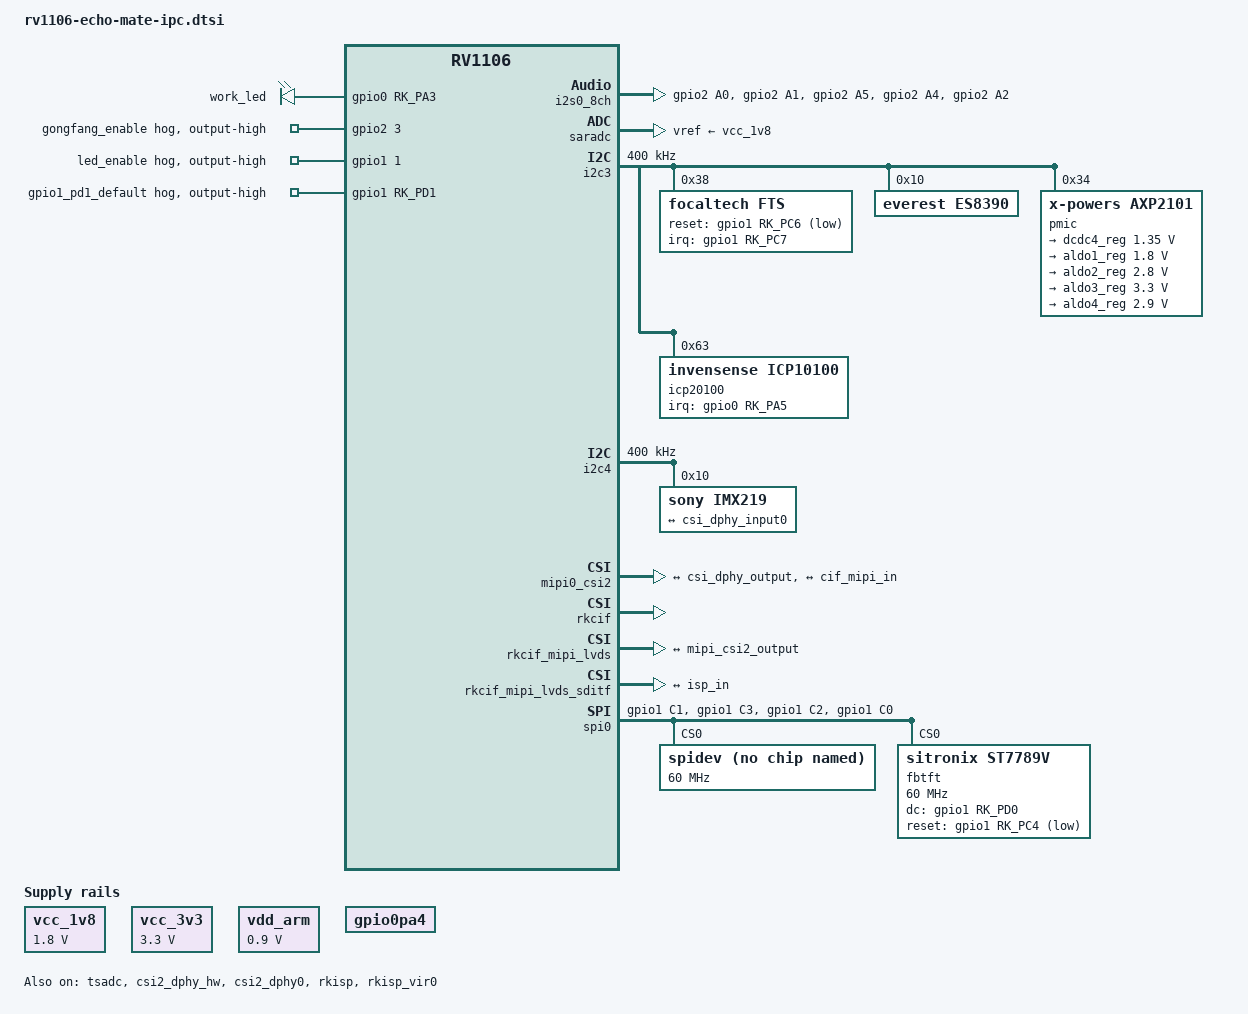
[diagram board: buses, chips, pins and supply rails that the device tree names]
// SPDX-License-Identifier: (GPL-2.0+ OR MIT)
/*
 * Copyright (c) 2022 Rockchip Electronics Co., Ltd.
 */
#include "rv1106-amp.dtsi"

/ {
	chosen {
		bootargs = "earlycon=uart8250,mmio32,0xff4c0000 console=ttyFIQ0 root=/dev/mmcblk1p7 rootwait snd_soc_core.prealloc_buffer_size_kbytes=16 coherent_pool=0 snd_soc_core.disable_offload=0";
	};

	es8390_sound: es8390-sound {
		status = "okay";
		compatible = "simple-audio-card";
		simple-audio-card,name = "rv1106-es8390";
		simple-audio-card,format = "i2s";
		simple-audio-card,mclk-fs = <256>;
		simple-audio-card,bitclock-master = <&i2s0_8ch>;
		simple-audio-card,frame-master = <&i2s0_8ch>;
		//spk-con-gpio = <&gpio2 RK_PA3 GPIO_ACTIVE_HIGH>;
		rockchip,audio-routing =
			"Headphone", "LOUT1",
			"Headphone", "ROUT1",
			"Speaker", "LOUT2",
			"Speaker", "ROUT2",
			"Headphone", "Headphone Power",
			"Headphone", "Headphone Power",
			"Speaker", "Speaker Power",
			"Speaker", "Speaker Power",
			"LINPUT1", "Main Mic",
			"LINPUT2", "Main Mic",
			"RINPUT1", "Headset Mic",
			"RINPUT2", "Headset Mic";
		dai_cpu: simple-audio-card,cpu {sound-dai = <&i2s0_8ch>;};
		simple-audio-card,codec {sound-dai = <&es8390>;};
	};

	vcc_1v8: vcc-1v8 {
		compatible = "regulator-fixed";
		regulator-name = "vcc_1v8";
		regulator-always-on;
		regulator-boot-on;
		regulator-min-microvolt = <1800000>;
		regulator-max-microvolt = <1800000>;
	};

	vcc_3v3: vcc-3v3 {
		compatible = "regulator-fixed";
		regulator-name = "vcc_3v3";
		regulator-always-on;
		regulator-boot-on;
		regulator-min-microvolt = <3300000>;
		regulator-max-microvolt = <3300000>;
	};

	vdd_arm: vdd-arm {
		compatible = "regulator-fixed";
		regulator-name = "vdd_arm";
		regulator-min-microvolt = <900000>;
		regulator-max-microvolt = <900000>;
		regulator-always-on;

		regulator-boot-on;
	};
	leds: leds {
		compatible = "gpio-leds";
		work_led: work{
			gpios = <&gpio0 RK_PA3 GPIO_ACTIVE_HIGH>;
			linux,default-trigger = "activity";
			default-state = "on";
		};	
	};

	gpio0pa4:gpio0pa4 {
        compatible = "regulator-fixed";
        pinctrl-names = "default";
        pinctrl-0 = <&gpio0_pa4>;
        regulator-name = "gpio0_pa4";
        regulator-always-on;
    };

};



/***************************** AUDIO ********************************/
&i2s0_8ch {
	status = "okay";
	rockchip,clk-trcm = <1>;
	rockchip,io-func = <1>;
	pinctrl-names = "default";
	pinctrl-0 = <&i2s0_sclk &i2s0_lrck &i2s0_sdi0 &i2s0_sdo0 &i2s0_mclk>;
	assigned-clocks = <&cru MCLK_I2S0_8CH_TX>;
	assigned-clock-rates = <12288000>;
	#sound-dai-cells = <0>;
};

/***************************** CPU ********************************/
&cpu0 {
	cpu-supply = <&vdd_arm>;
};

/***************************** ADC ********************************/
&saradc {
	status = "okay";
	vref-supply = <&vcc_1v8>;
};

&tsadc {
	status = "okay";
};

/***************************** CSI ********************************/
&csi2_dphy_hw {
	status = "okay";
};

&csi2_dphy0 {
	status = "okay";

	ports {
		#address-cells = <1>;
		#size-cells = <0>;

		port@0 {
			reg = <0>;
			#address-cells = <1>;
			#size-cells = <0>;

			csi_dphy_input0: endpoint@0 {
				reg = <0>;
				remote-endpoint = <&imx219_out>;
				data-lanes = <1 2>;
			};
		};

		port@1 {
			reg = <1>;
			#address-cells = <1>;
			#size-cells = <0>;

			csi_dphy_output: endpoint@0 {
				reg = <0>;
				remote-endpoint = <&mipi_csi2_input>;
			};
		};
	};
};

/**********I2C**********/
/* I2C3_M1 */
&i2c3 {
	status = "okay";
	clock-frequency = <400000>;  // 400kHz I2C频率
	pinctrl-names = "default";
	pinctrl-0 = <&i2c3m1_xfer>;

    focaltech@38 { 
		compatible = "focaltech,fts";	
		reg = <0x38>;  					
		interrupt-parent = <&gpio1>;				
		interrupts = <RK_PC7 IRQ_TYPE_EDGE_FALLING>;
		focaltech,reset-gpio = <&gpio1 RK_PC6 GPIO_ACTIVE_LOW>;
		focaltech,irq-gpio = <&gpio1 RK_PC7 IRQ_TYPE_LEVEL_LOW>; 

		focaltech,max-touch-number = <5>;			
		focaltech,display-coords =  <0 0 240 320>;
		focaltech,rotate = <270>;
	};

	es8390: es8390@10{
		status = "okay";
		compatible = "everest,es8390","everest,es8389";
		reg = <0x10>;
		clocks = <&cru MCLK_I2S0_8CH_TX>;
		clock-names = "mclk";
		assigned-clocks = <&cru MCLK_I2S0_8CH_TX>;
		assigned-clock-rates = <12288000>;
		#sound-dai-cells = <0>;
	};

	pmic: pmic@34 { 
		compatible = "x-powers,axp2101"; 
		reg = <0x34>; /* 暂不声明中断，用户态轮询 reg48h–4Ah */ 

		regulators {
            /* DCDC4 = 1.35V */
            dcdc4_reg: dcdc4 {
                regulator-name = "dcdc4_1v35";
                regulator-min-microvolt = <1350000>;
                regulator-max-microvolt = <1350000>;
                regulator-boot-on;
                regulator-always-on;
            };

            /* ALDO1 = 1.8V */
            aldo1_reg: aldo1 {
                regulator-name = "aldo1_1v8";
                regulator-min-microvolt = <1800000>;
                regulator-max-microvolt = <1800000>;
                regulator-boot-on;
                regulator-always-on;
            };

            /* ALDO2 = 2.8V */
            aldo2_reg: aldo2 {
                regulator-name = "aldo2_2v8";
                regulator-min-microvolt = <2800000>;
                regulator-max-microvolt = <2800000>;
                regulator-boot-on;
                regulator-always-on;
            };

            /* ALDO3 = 3.3V */
            aldo3_reg: aldo3 {
                regulator-name = "aldo3_3v3";
                regulator-min-microvolt = <3300000>;
                regulator-max-microvolt = <3300000>;
                regulator-boot-on;
                regulator-always-on;
            };

            /* ALDO4 = 2.9V */
            aldo4_reg: aldo4 {
                regulator-name = "aldo4_2v9";
                regulator-min-microvolt = <2900000>;
                regulator-max-microvolt = <2900000>;
                regulator-boot-on;
                regulator-always-on;
            };
        };
	};

	icp20100: icp20100@63{
		compatible = "invensense,icp10100";
		reg = <0x63>;
		interrupt-parent = <&gpio0>;
		interrupts = <RK_PA5 IRQ_TYPE_LEVEL_LOW>;
	};
};

&i2c4 {
	status = "okay";
	clock-frequency = <400000>;
	pinctrl-names = "default";
	pinctrl-0 = <&i2c4m2_xfer>;

	 imx219: imx219@10 {
		status = "okay";
        compatible = "sony,imx219";
        reg = <0x10>;
        clocks = <&cru MCLK_REF_MIPI0>;
        clock-names = "xvclk";
        pinctrl-names = "default";
        pinctrl-0 = <&mipi_refclk_out0>;
        rockchip,camera-module-index = <0>;
        rockchip,camera-module-facing = "back";
        rockchip,camera-module-name = "IMX219";
        rockchip,camera-module-lens-name = "default";

        port {
            imx219_out: endpoint {
                data-lanes = <1 2>;
                remote-endpoint = <&csi_dphy_input0>;
            };
        };
    };
	
	
};

&mipi0_csi2 {
	status = "okay";

	ports {
		#address-cells = <1>;
		#size-cells = <0>;

		port@0 {
			reg = <0>;
			#address-cells = <1>;
			#size-cells = <0>;

			mipi_csi2_input: endpoint@1 {
				reg = <1>;
				remote-endpoint = <&csi_dphy_output>;
			};
		};

		port@1 {
			reg = <1>;
			#address-cells = <1>;
			#size-cells = <0>;

			mipi_csi2_output: endpoint@0 {
				reg = <0>;
				remote-endpoint = <&cif_mipi_in>;
			};
		};
	};
};

&rkcif {
	status = "okay";
};

&rkcif_mipi_lvds {
	status = "okay";

	pinctrl-names = "default";
	pinctrl-0 = <&mipi_pins>;
	port {
		/* MIPI CSI-2 endpoint */
		cif_mipi_in: endpoint {
			remote-endpoint = <&mipi_csi2_output>;
		};
	};
};

&rkcif_mipi_lvds_sditf {
	status = "okay";

	port {
		/* MIPI CSI-2 endpoint */
		mipi_lvds_sditf: endpoint {
			remote-endpoint = <&isp_in>;
		};
	};
};

&rkisp {
	status = "okay";
};

&rkisp_vir0 {
	status = "okay";

	port@0 {
		isp_in: endpoint {
			remote-endpoint = <&mipi_lvds_sditf>;
		};
	};
};


/*****************************PINCTRL********************************/
// SPI
&spi0 {
	pinctrl-0 = <&spi0m0_clk &spi0m0_miso &spi0m0_mosi &spi0m0_cs0>;
	#address-cells = <1>;
	#size-cells = <0>;
	spidev@0 {
    	compatible = "rockchip,spidev";
		spi-max-frequency = <60000000>;
		reg = <0>;
	};

	fbtft@0{
		compatible = "sitronix,st7789v";
		reg = <0>;
		spi-max-frequency = <60000000>;
		fps = <60>;
		buswidth = <8>;
		debug = <0x7>;
		rotate = <270>;
		//bgr = <1>;	//RGB->BGR
		//led-gpios = <&gpio1 RK_PC5 GPIO_ACTIVE_HIGH>;		//BL
		dc-gpios = <&gpio1 RK_PD0 GPIO_ACTIVE_HIGH>;		//DC
		reset-gpios = <&gpio1 RK_PC4 GPIO_ACTIVE_LOW>;		//RES
	};
};
// I2C
&i2c0 {
	pinctrl-0 = <&i2c0m2_xfer>;
};

&i2c1 {
	pinctrl-0 = <&i2c1m1_xfer>;
};

//&i2c3 {
//	pinctrl-0 = <&i2c3m1_xfer &i2c3m0_xfer>;
//};

// &i2c4 {
//  pinctrl-0 = <&i2c4m0_xfer>;
// };

// UART
&uart1 {
	pinctrl-0 = <&uart1m1_xfer>;
};
&uart3 {
	pinctrl-0 = <&uart3m1_xfer>;
};
&uart4 {
	pinctrl-0 = <&uart4m1_xfer>;
};
&uart5 {
	pinctrl-0 = <&uart5m0_xfer>;
};

// PWM
&pwm0 {
	pinctrl-0 = <&pwm0m1_pins>;
};
&pwm2 {
	pinctrl-0 = <&pwm2m2_pins>;
};
&pwm3 {
	pinctrl-0 = <&pwm3m2_pins>;
};
&pwm4 {
	pinctrl-0 = <&pwm4m2_pins>;
};
&pwm5 {
	pinctrl-0 = <&pwm5m2_pins>;
};
&pwm6 {
	pinctrl-0 = <&pwm6m1_pins &pwm6m2_pins>;
};
&pwm8 {
	pinctrl-0 = <&pwm8m1_pins>;
};
&pwm9 {
	pinctrl-0 = <&pwm9m1_pins>;
};
&pwm10 {
	pinctrl-0 = <&pwm10m2_pins>;
};
&pwm11 {
	pinctrl-0 = <&pwm11m1_pins>;
};

&pinctrl {
	spi0 {
		spi0m0_clk: spi0m0-clk {
			rockchip,pins = <1 RK_PC1 4 &pcfg_pull_none>;
		};
		spi0m0_mosi: spi0m0-mosi {
			rockchip,pins = <1 RK_PC2 6 &pcfg_pull_none>;
		};
		spi0m0_miso: spi0m0-miso {
			rockchip,pins = <1 RK_PC3 6 &pcfg_pull_none>;
		};
		spi0m0_cs0: spi0m0-cs0 {
			rockchip,pins = <1 RK_PC0 4 &pcfg_pull_none>;
		};
	};

	// led_b
    gpio0-pa4 {
        gpio0_pa4:gpio0-pa4 {
            rockchip,pins = <0 RK_PA4 RK_FUNC_GPIO &pcfg_pull_none>;
    	};
	};

	gpio1-pa0 {
        gpio1_pa0:gpio1-pa0 {
            rockchip,pins = <1 RK_PA0 RK_FUNC_GPIO &pcfg_pull_none>;
    	};
	};
	gpio1-pa1 {
        gpio1_pa1:gpio1-pa1 {
            rockchip,pins = <1 RK_PA1 RK_FUNC_GPIO &pcfg_pull_none>;
    	};
	};
	gpio1-pa2 {
        gpio1_pa2:gpio1-pa2 {
            rockchip,pins = <1 RK_PA2 RK_FUNC_GPIO &pcfg_pull_none>;
    	};
	};
	gpio1-pa3 {
        gpio1_pa3:gpio1-pa3 {
            rockchip,pins = <1 RK_PA3 RK_FUNC_GPIO &pcfg_pull_none>;
    	};
	};
	gpio1-pd1 {
		gpio1_pd1: gpio1-pd1 {
        	rockchip,pins = <1 RK_PD1 RK_FUNC_GPIO &pcfg_pull_none>;
    	};
	};
	cam_rst {
        cam_rst_gpio: cam-rst-gpio {
            rockchip,pins = <3 RK_PC5 RK_FUNC_GPIO &pcfg_pull_up>;
        };
    };
};

&pinctrl {
	// I2S0 M0 引脚配置
	i2s0 {
		i2s0_sclk: i2s0-sclk {
			rockchip,pins = <2 RK_PA0 2 &pcfg_pull_none>;
		};
		
		i2s0_lrck: i2s0-lrck {
			rockchip,pins = <2 RK_PA1 2 &pcfg_pull_none>;
		};

		i2s0_sdo0: i2s0-sdo0 {
			rockchip,pins = <2 RK_PA4    2 &pcfg_pull_none>;
		};

		i2s0_mclk: i2s0-mclk {
			rockchip,pins = <2 RK_PA2 2 &pcfg_pull_none>;
		};
		
		i2s0_sdi0: i2s0-sdi0 {
			rockchip,pins = <2 RK_PA5 2 &pcfg_pull_none>;
		};
			
	};
};


&gpio2 {
    gongfang_gpio: gongfang-enable-gpio {
        gpio-hog;
        gpios = <3 GPIO_ACTIVE_HIGH>;
        output-high;
        line-name = "gongfang_enable";
    };
};

&gpio1 {
    led_gpio: led-enable-gpio {
        gpio-hog;
        gpios = <1 GPIO_ACTIVE_HIGH>;
        output-high;
        line-name = "led_enable";
    };
    
    gpio1_pd1_default: gpio1-pd1-default {
        gpio-hog;
        gpios = <RK_PD1 GPIO_ACTIVE_HIGH>;
        output-high;
        line-name = "gpio1_pd1_default";
    };

};




